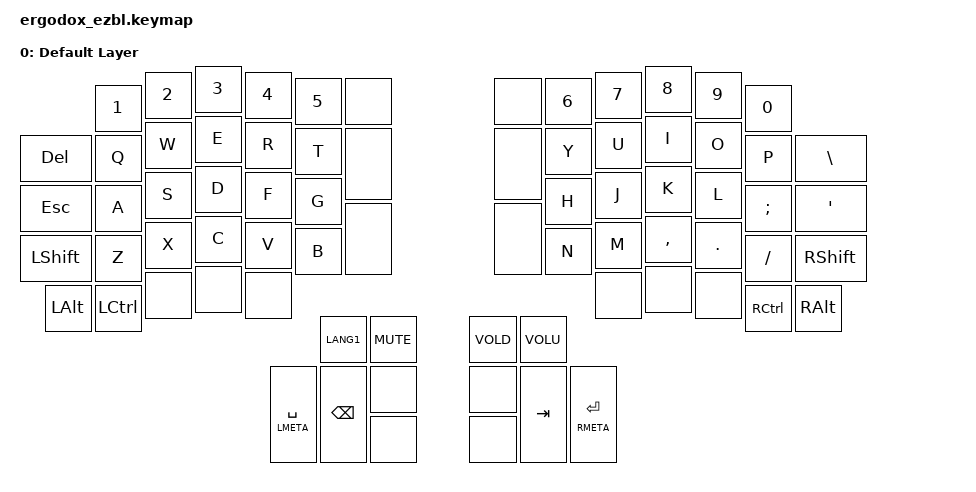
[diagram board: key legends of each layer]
/*
 * Copyright (c) 2020 The ZMK Contributors
 *
 * SPDX-License-Identifier: MIT
 */

#include <behaviors.dtsi>
#include <dt-bindings/zmk/keys.h>
#include <dt-bindings/zmk/bt.h>

/ {
  keymap {
    compatible = "zmk,keymap";

    default_layer {
      display-name = "Default Layer";

//          RC(5,1) RC(5,2) RC(5,3) RC(5,4) RC(5,5) RC(5,6)          RC(5,7) RC(5,8) RC(5,9) RC(5,10) RC(5,11) RC(5,12)
//  RC(4,0) RC(4,1) RC(4,2) RC(4,3) RC(4,4) RC(4,5) RC(4,6)          RC(4,7) RC(4,8) RC(4,9) RC(4,10) RC(4,11) RC(4,12) RC(4,13)
//  RC(3,0) RC(3,1) RC(3,2) RC(3,3) RC(3,4) RC(3,5)                          RC(3,8) RC(3,9) RC(3,10) RC(3,11) RC(3,12) RC(3,13)
//  RC(2,0) RC(2,1) RC(2,2) RC(2,3) RC(2,4) RC(2,5) RC(2,6)          RC(2,7) RC(2,8) RC(2,9) RC(2,10) RC(2,11) RC(2,12) RC(2,13)
//  RC(1,0) RC(1,1) RC(1,2) RC(1,3) RC(1,4)                                          RC(1,9) RC(1,10) RC(1,11) RC(1,12) RC(1,13)
//                                            RC(0,3)  RC(0,0)     RC(0,7) RC(0,10)
//                                                     RC(0,1)     RC(0,8)
//                                     RC(0,5) RC(0,4) RC(0,2)     RC(0,9) RC(0,11)  RC(0,12)
      bindings = <
              &kp  N1       &kp  N2       &kp  N3       &kp  N4       &kp  N5       &none                  &none         &kp  N6       &kp  N7       &kp  N8       &kp  N9       &kp  N0
&kp  DEL      &kp  Q        &kp  W        &kp  E        &kp  R        &kp  T        &none                  &none         &kp  Y        &kp  U        &kp  I        &kp  O        &kp  P        &kp  BSLH
&kp  ESC      &kp  A        &kp  S        &kp  D        &kp  F        &kp  G                                             &kp  H        &kp  J        &kp  K        &kp  L        &kp  SEMI     &kp  SQT
&kp  LSHFT    &kp  Z        &kp  X        &kp  C        &kp  V        &kp  B        &none                  &none         &kp  N        &kp  M        &kp  COMMA    &kp  DOT      &kp  SLASH    &kp  RSHFT
&kp  LALT     &kp  LCTRL    &none         &none         &none                                                                          &none         &none         &none         &kp  RCTRL    &kp  RALT
                                                                      &kp  LANG1    &kp  K_MUTE            &kp  VOLD     &kp  VOLU
                                                                                    &none                  &none
                                                        &mt LMETA SPC &kp BSPC      &none                  &none         &kp  TAB      &mt RMETA RET
      >;
    };
    extra1 {
      status = "reserved";
    };
    extra2 {
      status = "reserved";
    };
  };
};

